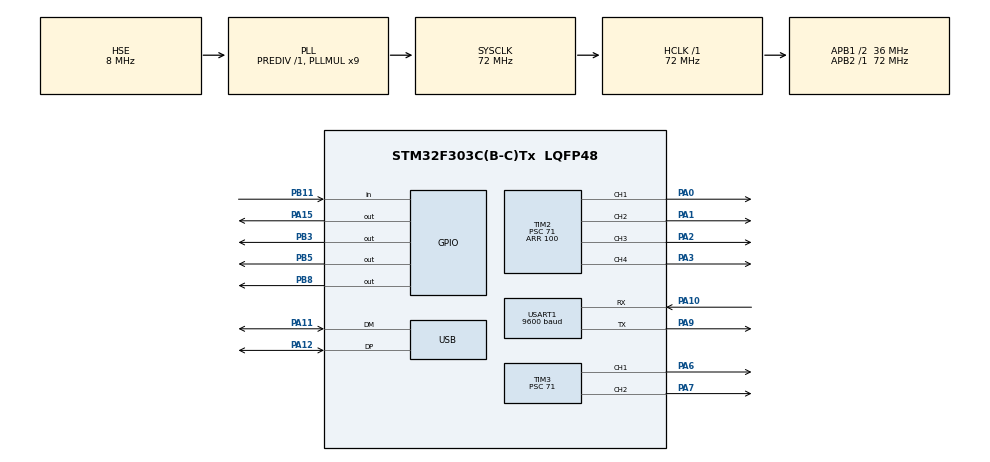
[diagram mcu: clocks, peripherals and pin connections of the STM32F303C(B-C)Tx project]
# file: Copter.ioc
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FREERTOS.INCLUDE_uxTaskGetStackHighWaterMark=1
FREERTOS.INCLUDE_vTaskDelayUntil=1
FREERTOS.Tasks01=SystemInit,0,128,SystemInitConfigTask,Default,NULL,Dynamic,NULL,NULL
Mcu.Family=STM32F3
Mcu.Name=STM32F303C(B-C)Tx
Mcu.Package=LQFP48
NVIC.PriorityGroup=NVIC_PRIORITYGROUP_4
NVIC.TIM1_TRG_COM_TIM17_IRQn=true\:0\:0\:false\:false\:true\:false\:false
NVIC.TimeBase=TIM1_TRG_COM_TIM17_IRQn
NVIC.TimeBaseIP=TIM17
NVIC.USART1_IRQn=true\:5\:0\:true\:false\:true\:true\:true
PA0.Signal=S_TIM2_CH1_ETR
PA1.Signal=S_TIM2_CH2
PA10.Mode=Asynchronous
PA10.Signal=USART1_RX
PA11.Mode=Device
PA11.Signal=USB_DM
PA12.Mode=Device
PA12.Signal=USB_DP
PA13.Mode=Serial_Wire
PA13.Signal=SYS_JTMS-SWDIO
PA14.Mode=Serial_Wire
PA14.Signal=SYS_JTCK-SWCLK
PA15.Signal=GPIO_Output
PA2.Signal=S_TIM2_CH3
PA3.Signal=S_TIM2_CH4
PA6.Signal=S_TIM3_CH1
PA7.Signal=S_TIM3_CH2
PA9.Mode=Asynchronous
PA9.Signal=USART1_TX
PB11.GPIO_PuPd=GPIO_PULLUP
PB11.Signal=GPIO_Input
PB3.GPIO_ModeDefaultOutputPP=GPIO_MODE_OUTPUT_OD
PB3.GPIO_PuPd=GPIO_PULLUP
PB3.Signal=GPIO_Output
PB5.GPIO_ModeDefaultOutputPP=GPIO_MODE_OUTPUT_OD
PB5.GPIO_PuPd=GPIO_PULLUP
PB5.Signal=GPIO_Output
PB8.Signal=GPIO_Output
PF0-OSC_IN.Mode=HSE-External-Oscillator
PF0-OSC_IN.Signal=RCC_OSC_IN
PF1-OSC_OUT.Mode=HSE-External-Oscillator
PF1-OSC_OUT.Signal=RCC_OSC_OUT
ProjectManager.HeapSize=0x200
ProjectManager.StackSize=0x400
ProjectManager.TargetToolchain=MDK-ARM V5
RCC.AHBFreq_Value=72000000
RCC.APB1CLKDivider=RCC_HCLK_DIV2
RCC.APB1Freq_Value=36000000
RCC.APB1TimFreq_Value=72000000
RCC.APB2Freq_Value=72000000
RCC.APB2TimFreq_Value=72000000
RCC.CortexFreq_Value=72000000
RCC.HCLKFreq_Value=72000000
RCC.HSE_VALUE=8000000
RCC.HSI_VALUE=8000000
RCC.LSE_VALUE=32768
RCC.PLLMUL=RCC_PLL_MUL9
RCC.PRESCALERUSB=RCC_USBCLKSOURCE_PLL_DIV1_5
RCC.SYSCLKFreq_VALUE=72000000
RCC.SYSCLKSourceVirtual=RCC_SYSCLKSOURCE_PLLCLK
RCC.USBFreq_Value=48000000
SH.S_TIM2_CH1_ETR.0=TIM2_CH1,PWM Generation1 CH1
SH.S_TIM2_CH2.0=TIM2_CH2,PWM Generation2 CH2
SH.S_TIM2_CH3.0=TIM2_CH3,PWM Generation3 CH3
SH.S_TIM2_CH4.0=TIM2_CH4,PWM Generation4 CH4
SH.S_TIM3_CH1.0=TIM3_CH1,PWM Generation1 CH1
SH.S_TIM3_CH2.0=TIM3_CH2,PWM Generation2 CH2
TIM2.Channel-PWM\ Generation1\ CH1=TIM_CHANNEL_1
TIM2.Channel-PWM\ Generation2\ CH2=TIM_CHANNEL_2
TIM2.Channel-PWM\ Generation3\ CH3=TIM_CHANNEL_3
TIM2.Channel-PWM\ Generation4\ CH4=TIM_CHANNEL_4
TIM2.Period=100
TIM2.Prescaler=71
TIM2.Pulse-PWM\ Generation1\ CH1=0
TIM2.Pulse-PWM\ Generation2\ CH2=0
TIM2.Pulse-PWM\ Generation3\ CH3=0
TIM2.Pulse-PWM\ Generation4\ CH4=0
TIM3.Channel-PWM\ Generation1\ CH1=TIM_CHANNEL_1
TIM3.Channel-PWM\ Generation2\ CH2=TIM_CHANNEL_2
TIM3.Period=100
TIM3.Prescaler=71
USART1.BaudRate=9600
USART1.VirtualMode-Asynchronous=VM_ASYNC
VP_FREERTOS_VS_ENABLE.Mode=Enabled
VP_IWDG_VS_IWDG.Mode=IWDG_Activate
VP_SYS_VS_tim17.Mode=TIM17
VP_TIM2_VS_ClockSourceINT.Mode=Internal
VP_TIM3_VS_ClockSourceINT.Mode=Internal
board=Copter

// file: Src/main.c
/**
  ******************************************************************************
  * @file           : main.c
  * @brief          : Main program body
  ******************************************************************************
  * This notice applies to any and all portions of this file
  * that are not between comment pairs USER CODE BEGIN and
  * USER CODE END. Other portions of this file, whether
  * inserted by the user or by software development tools
  * are owned by their respective copyright owners.
  *
  * Copyright (c) 2018 STMicroelectronics International N.V.
  * All rights reserved.
  *
  * Redistribution and use in source and binary forms, with or without
  * modification, are permitted, provided that the following conditions are met:
  *
  * 1. Redistribution of source code must retain the above copyright notice,
  *    this list of conditions and the following disclaimer.
  * 2. Redistributions in binary form must reproduce the above copyright notice,
  *    this list of conditions and the following disclaimer in the documentation
  *    and/or other materials provided with the distribution.
  * 3. Neither the name of STMicroelectronics nor the names of other
  *    contributors to this software may be used to endorse or promote products
  *    derived from this software without specific written permission.
  * 4. This software, including modifications and/or derivative works of this
  *    software, must execute solely and exclusively on microcontroller or
  *    microprocessor devices manufactured by or for STMicroelectronics.
  * 5. Redistribution and use of this software other than as permitted under
  *    this license is void and will automatically terminate your rights under
  *    this license.
  *
  * THIS SOFTWARE IS PROVIDED BY STMICROELECTRONICS AND CONTRIBUTORS "AS IS"
  * AND ANY EXPRESS, IMPLIED OR STATUTORY WARRANTIES, INCLUDING, BUT NOT
  * LIMITED TO, THE IMPLIED WARRANTIES OF MERCHANTABILITY, FITNESS FOR A
  * PARTICULAR PURPOSE AND NON-INFRINGEMENT OF THIRD PARTY INTELLECTUAL PROPERTY
  * RIGHTS ARE DISCLAIMED TO THE FULLEST EXTENT PERMITTED BY LAW. IN NO EVENT
  * SHALL STMICROELECTRONICS OR CONTRIBUTORS BE LIABLE FOR ANY DIRECT, INDIRECT,
  * INCIDENTAL, SPECIAL, EXEMPLARY, OR CONSEQUENTIAL DAMAGES (INCLUDING, BUT NOT
  * LIMITED TO, PROCUREMENT OF SUBSTITUTE GOODS OR SERVICES; LOSS OF USE, DATA,
  * OR PROFITS; OR BUSINESS INTERRUPTION) HOWEVER CAUSED AND ON ANY THEORY OF
  * LIABILITY, WHETHER IN CONTRACT, STRICT LIABILITY, OR TORT (INCLUDING
  * NEGLIGENCE OR OTHERWISE) ARISING IN ANY WAY OUT OF THE USE OF THIS SOFTWARE,
  * EVEN IF ADVISED OF THE POSSIBILITY OF SUCH DAMAGE.
  *
  ******************************************************************************
  */
#include "main.h"
#include "stm32f3xx_hal.h"
#include "cmsis_os.h"
#include "iwdg.h"
#include "tim.h"
#include "usart.h"
#include "usb.h"
#include "gpio.h"

/* USER CODE BEGIN PV */
/* Private variables ---------------------------------------------------------*/

/* USER CODE END PV */

void SystemClock_Config(void);
void MX_FREERTOS_Init(void);

/* USER CODE BEGIN PFP */
/* Private function prototypes -----------------------------------------------*/

/* USER CODE END PFP */

int main(void)
{

  /* MCU Configuration----------------------------------------------------------*/

  /* Reset of all peripherals, Initializes the Flash interface and the Systick. */
  HAL_Init();

  /* Configure the system clock */
  SystemClock_Config();

  /* Initialize all configured peripherals */
  MX_GPIO_Init();
  MX_USART1_UART_Init();
  MX_TIM2_Init();
  MX_USB_PCD_Init();
  MX_IWDG_Init();
  MX_TIM3_Init();

  /* Call init function for freertos objects (in freertos.c) */
  MX_FREERTOS_Init();

  /* Start scheduler */
  osKernelStart();

  /* We should never get here as control is now taken by the scheduler */

  /* Infinite loop */
  while (1)
  {

  }

}

void SystemClock_Config(void)
{

  RCC_OscInitTypeDef RCC_OscInitStruct;
  RCC_ClkInitTypeDef RCC_ClkInitStruct;
  RCC_PeriphCLKInitTypeDef PeriphClkInit;

    /**Initializes the CPU, AHB and APB busses clocks
    */
  RCC_OscInitStruct.OscillatorType = RCC_OSCILLATORTYPE_LSI|RCC_OSCILLATORTYPE_HSE;
  RCC_OscInitStruct.HSEState = RCC_HSE_ON;
  RCC_OscInitStruct.HSEPredivValue = RCC_HSE_PREDIV_DIV1;
  RCC_OscInitStruct.HSIState = RCC_HSI_ON;
  RCC_OscInitStruct.LSIState = RCC_LSI_ON;
  RCC_OscInitStruct.PLL.PLLState = RCC_PLL_ON;
  RCC_OscInitStruct.PLL.PLLSource = RCC_PLLSOURCE_HSE;
  RCC_OscInitStruct.PLL.PLLMUL = RCC_PLL_MUL9;
  if (HAL_RCC_OscConfig(&RCC_OscInitStruct) != HAL_OK)
  {
    _Error_Handler(__FILE__, __LINE__);
  }

    /**Initializes the CPU, AHB and APB busses clocks
    */
  RCC_ClkInitStruct.ClockType = RCC_CLOCKTYPE_HCLK|RCC_CLOCKTYPE_SYSCLK
                              |RCC_CLOCKTYPE_PCLK1|RCC_CLOCKTYPE_PCLK2;
  RCC_ClkInitStruct.SYSCLKSource = RCC_SYSCLKSOURCE_PLLCLK;
  RCC_ClkInitStruct.AHBCLKDivider = RCC_SYSCLK_DIV1;
  RCC_ClkInitStruct.APB1CLKDivider = RCC_HCLK_DIV2;
  RCC_ClkInitStruct.APB2CLKDivider = RCC_HCLK_DIV1;

  if (HAL_RCC_ClockConfig(&RCC_ClkInitStruct, FLASH_LATENCY_2) != HAL_OK)
  {
    _Error_Handler(__FILE__, __LINE__);
  }

  PeriphClkInit.PeriphClockSelection = RCC_PERIPHCLK_USB|RCC_PERIPHCLK_USART1;
  PeriphClkInit.Usart1ClockSelection = RCC_USART1CLKSOURCE_PCLK2;
  PeriphClkInit.USBClockSelection = RCC_USBCLKSOURCE_PLL_DIV1_5;
  if (HAL_RCCEx_PeriphCLKConfig(&PeriphClkInit) != HAL_OK)
  {
    _Error_Handler(__FILE__, __LINE__);
  }

    /**Configure the Systick interrupt time
    */
  HAL_SYSTICK_Config(HAL_RCC_GetHCLKFreq()/1000);

    /**Configure the Systick
    */
  HAL_SYSTICK_CLKSourceConfig(SYSTICK_CLKSOURCE_HCLK);

  /* SysTick_IRQn interrupt configuration */
  HAL_NVIC_SetPriority(SysTick_IRQn, 15, 0);
}

void HAL_TIM_PeriodElapsedCallback(TIM_HandleTypeDef *htim)
{
  if (htim->Instance == TIM17) {
    HAL_IncTick();
  }
}

void _Error_Handler(char *file, int line)
{
  while(1)
  {
  }
}

/************************ (C) COPYRIGHT STMicroelectronics *****END OF FILE****/

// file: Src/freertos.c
/**
  ******************************************************************************
  * File Name          : freertos.c
  * Description        : Code for freertos applications
  ******************************************************************************
  * This notice applies to any and all portions of this file
  * that are not between comment pairs USER CODE BEGIN and
  * USER CODE END. Other portions of this file, whether
  * inserted by the user or by software development tools
  * are owned by their respective copyright owners.
  *
  * Copyright (c) 2018 STMicroelectronics International N.V.
  * All rights reserved.
  *
  * Redistribution and use in source and binary forms, with or without
  * modification, are permitted, provided that the following conditions are met:
  *
  * 1. Redistribution of source code must retain the above copyright notice,
  *    this list of conditions and the following disclaimer.
  * 2. Redistributions in binary form must reproduce the above copyright notice,
  *    this list of conditions and the following disclaimer in the documentation
  *    and/or other materials provided with the distribution.
  * 3. Neither the name of STMicroelectronics nor the names of other
  *    contributors to this software may be used to endorse or promote products
  *    derived from this software without specific written permission.
  * 4. This software, including modifications and/or derivative works of this
  *    software, must execute solely and exclusively on microcontroller or
  *    microprocessor devices manufactured by or for STMicroelectronics.
  * 5. Redistribution and use of this software other than as permitted under
  *    this license is void and will automatically terminate your rights under
  *    this license.
  *
  * THIS SOFTWARE IS PROVIDED BY STMICROELECTRONICS AND CONTRIBUTORS "AS IS"
  * AND ANY EXPRESS, IMPLIED OR STATUTORY WARRANTIES, INCLUDING, BUT NOT
  * LIMITED TO, THE IMPLIED WARRANTIES OF MERCHANTABILITY, FITNESS FOR A
  * PARTICULAR PURPOSE AND NON-INFRINGEMENT OF THIRD PARTY INTELLECTUAL PROPERTY
  * RIGHTS ARE DISCLAIMED TO THE FULLEST EXTENT PERMITTED BY LAW. IN NO EVENT
  * SHALL STMICROELECTRONICS OR CONTRIBUTORS BE LIABLE FOR ANY DIRECT, INDIRECT,
  * INCIDENTAL, SPECIAL, EXEMPLARY, OR CONSEQUENTIAL DAMAGES (INCLUDING, BUT NOT
  * LIMITED TO, PROCUREMENT OF SUBSTITUTE GOODS OR SERVICES; LOSS OF USE, DATA,
  * OR PROFITS; OR BUSINESS INTERRUPTION) HOWEVER CAUSED AND ON ANY THEORY OF
  * LIABILITY, WHETHER IN CONTRACT, STRICT LIABILITY, OR TORT (INCLUDING
  * NEGLIGENCE OR OTHERWISE) ARISING IN ANY WAY OUT OF THE USE OF THIS SOFTWARE,
  * EVEN IF ADVISED OF THE POSSIBILITY OF SUCH DAMAGE.
  *
  ******************************************************************************
  */

#include "FreeRTOS.h"
#include "task.h"
#include "cmsis_os.h"

/* USER CODE BEGIN Includes */
#include "mpu6500.h"
#include "task_Control.h"
#include "Motor.h"
#include "Bluetooth.h"
#include "externParam.h"
#include "iwdg.h"
/* USER CODE END Includes */

osThreadId SystemInitHandle;

/* USER CODE BEGIN Variables */
osThreadId task_Control_Handle;
/* USER CODE END Variables */

void SystemInitConfigTask(void const * argument);

void MX_FREERTOS_Init(void); /* (MISRA C 2004 rule 8.1) */

/* Hook prototypes */

/* Init FreeRTOS */

void MX_FREERTOS_Init(void) {

  /* Create the thread(s) */
  /* definition and creation of SystemInit */
  osThreadDef(SystemInit, SystemInitConfigTask, osPriorityNormal, 0, 128);
  SystemInitHandle = osThreadCreate(osThread(SystemInit), NULL);

}

/* SystemInitConfigTask function */
void SystemInitConfigTask(void const * argument)
{

  /* USER CODE BEGIN SystemInitConfigTask */
  /* Infinite loop */
	uint8_t failFlag = 0;

	__HAL_UART_ENABLE(&huart1);

	uint8_t counter = 0;

	Bluetooth_Start();

	for(counter = 0; counter < 10; ++counter)
	{
		if(!MPU6500_InitConfig())
		{
			break;
		}
		vTaskDelay(100);
	}
	if(counter == 10)
	{
		failFlag = 1;
		goto InitFail;
	}

	Motor_Init();

	InitFail:
	if(failFlag)
	{
		while(1)
		{
			HAL_GPIO_TogglePin(GPIOB, GPIO_PIN_8);
			osDelay(50);
		}
	}
	else
	{
		HAL_GPIO_WritePin(GPIOB, GPIO_PIN_8, GPIO_PIN_RESET);
	}

	MX_IWDG_Init();

	osThreadDef(Control, task_Control, osPriorityBelowNormal, 0, 128);
	task_Control_Handle = osThreadCreate(osThread(Control), NULL);

	vTaskDelete(NULL);
  /* USER CODE END SystemInitConfigTask */
}

/************************ (C) COPYRIGHT STMicroelectronics *****END OF FILE****/
